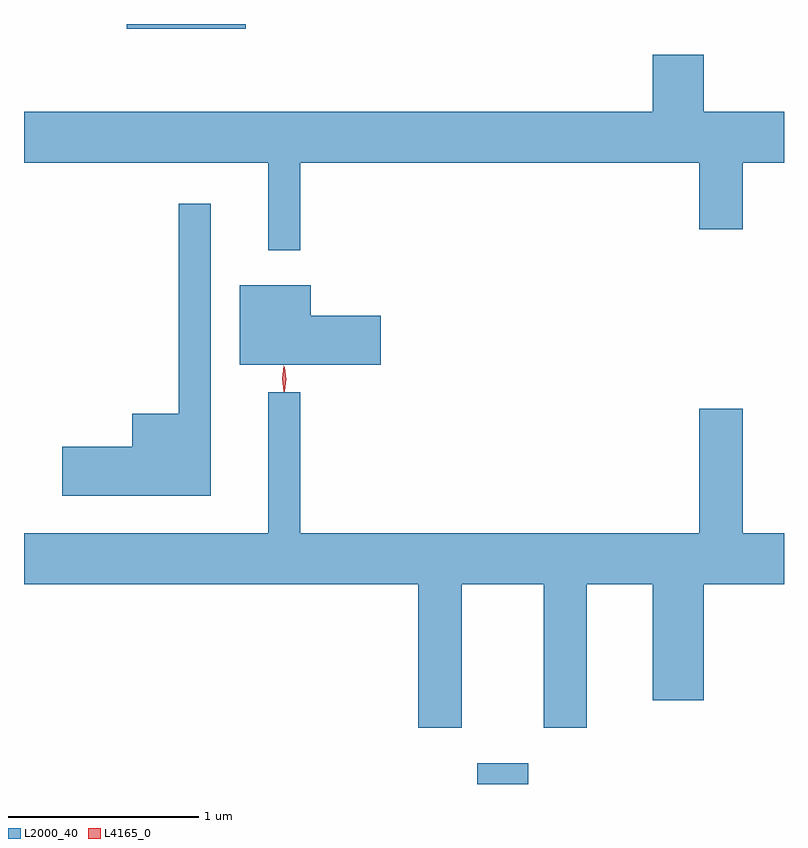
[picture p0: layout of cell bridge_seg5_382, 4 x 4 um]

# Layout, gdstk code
import gdstk
lib = gdstk.Library(unit=1e-6, precision=1e-09)
def R(c, l, rs):  # rectangles x0, y0, x1, y1
    for r in rs: c.add(gdstk.rectangle(r[:2], r[2:], *l))
def P(c, l, *ps):  # polygons
    for p in ps: c.add(gdstk.Polygon(p, *l))
L2000_40 = (2000, 40)
L4165_0 = (4165, 0)

bridge_seg5_382 = lib.new_cell('bridge_seg5_382')
R(bridge_seg5_382, L2000_40, [(573.791,1460.185,574.059,1460.294), (571.946,1464.161,572.574,1464.185)])
P(bridge_seg5_382, L2000_40, [(572.859,1463.456),(574.961,1463.456),(574.961,1463.106),(575.189,1463.106),(575.189,1463.456),(575.406,1463.456),(575.406,1463.724),(574.984,1463.724),(574.984,1464.024),(574.716,1464.024),(574.716,1463.724),(571.406,1463.724),(571.406,1463.456),(572.691,1463.456),(572.691,1462.993),(572.859,1462.993)],
  [(572.389,1463.238),(572.221,1463.238),(572.221,1462.134),(571.976,1462.134),(571.976,1461.959),(571.606,1461.959),(571.606,1461.701),(572.389,1461.701)],
  [(573.284,1462.649),(572.914,1462.649),(572.914,1462.809),(572.541,1462.809),(572.541,1462.391),(573.284,1462.391)],
  [(573.709,1461.236),(574.141,1461.236),(574.141,1460.481),(574.369,1460.481),(574.369,1461.236),(574.716,1461.236),(574.716,1460.626),(574.984,1460.626),(574.984,1461.236),(575.406,1461.236),(575.406,1461.504),(575.189,1461.504),(575.189,1462.159),(574.961,1462.159),(574.961,1461.504),(572.859,1461.504),(572.859,1462.248),(572.691,1462.248),(572.691,1461.504),(571.406,1461.504),(571.406,1461.236),(573.481,1461.236),(573.481,1460.481),(573.709,1460.481)])
P(bridge_seg5_382, L4165_0, [(572.774,1462.25),(572.764,1462.318),(572.773,1462.386),(572.774,1462.386),(572.774,1462.386),(572.784,1462.318),(572.775,1462.25),(572.775,1462.25)],
  [(572.776,1462.253),(572.767,1462.316),(572.776,1462.379),(572.777,1462.38),(572.778,1462.379),(572.787,1462.316),(572.778,1462.253),(572.777,1462.253)])

lib.write_gds('bridge_seg5_382.gds')
